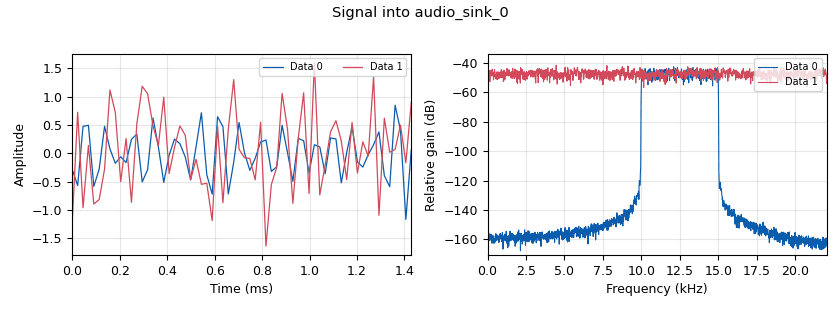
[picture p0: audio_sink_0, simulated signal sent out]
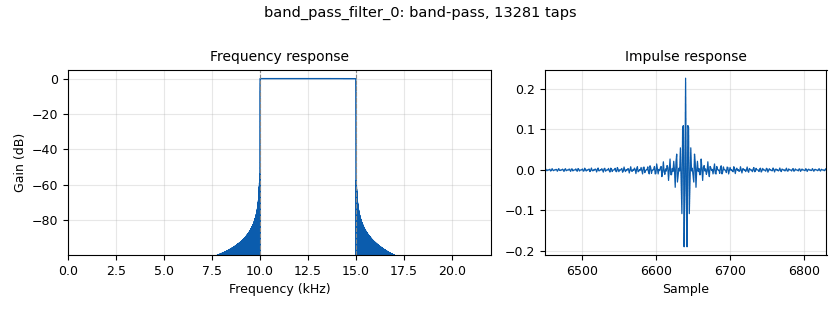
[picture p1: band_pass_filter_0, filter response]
<?xml version='1.0' encoding='utf-8'?>
<?grc format='1' created='3.7.12'?>
<flow_graph>
<block>
<key>options</key>
<param><key>id</key><value>top_block</value></param>
<param><key>generate_options</key><value>qt_gui</value></param>
</block>
<block>
<key>variable</key>
<param><key>id</key><value>samp_rate</value></param>
<param><key>value</key><value>44100</value></param>
</block>
<block>
<key>analog_noise_source_x</key>
<param><key>id</key><value>analog_noise_source_x_0</value></param>
<param><key>amp</key><value>1</value></param>
<param><key>noise_type</key><value>analog.GR_GAUSSIAN</value></param>
<param><key>type</key><value>complex</value></param>
<param><key>seed</key><value>0</value></param>
</block>
<block>
<key>audio_sink</key>
<param><key>id</key><value>audio_sink_0</value></param>
<param><key>num_inputs</key><value>2</value></param>
<param><key>samp_rate</key><value>samp_rate</value></param>
</block>
<block>
<key>audio_source</key>
<param><key>id</key><value>audio_source_0</value></param>
<param><key>num_outputs</key><value>2</value></param>
<param><key>samp_rate</key><value>samp_rate</value></param>
</block>
<block>
<key>band_pass_filter</key>
<param><key>id</key><value>band_pass_filter_0</value></param>
<param><key>decim</key><value>1</value></param>
<param><key>type</key><value>fir_filter_fff</value></param>
<param><key>gain</key><value>1</value></param>
<param><key>high_cutoff_freq</key><value>15e3</value></param>
<param><key>low_cutoff_freq</key><value>10e3</value></param>
<param><key>samp_rate</key><value>samp_rate</value></param>
<param><key>width</key><value>8</value></param>
<param><key>win</key><value>firdes.WIN_HAMMING</value></param>
</block>
<block>
<key>blocks_complex_to_float</key>
<param><key>id</key><value>blocks_complex_to_float_0</value></param>
</block>
<block>
<key>qtgui_freq_sink_x</key>
<param><key>id</key><value>qtgui_freq_sink_x_0</value></param>
<param><key>average</key><value>0.1</value></param>
<param><key>bw</key><value>samp_rate</value></param>
<param><key>fc</key><value>0</value></param>
<param><key>fftsize</key><value>4096</value></param>
<param><key>label2</key><value></value></param>
<param><key>nconnections</key><value>2</value></param>
<param><key>showports</key><value>True</value></param>
<param><key>type</key><value>float</value></param>
<param><key>wintype</key><value>firdes.WIN_BLACKMAN_hARRIS</value></param>
<param><key>ymax</key><value>0</value></param>
<param><key>ymin</key><value>-100</value></param>
</block>
<connection><source_block_id>analog_noise_source_x_0</source_block_id><sink_block_id>blocks_complex_to_float_0</sink_block_id><source_key>0</source_key><sink_key>0</sink_key></connection>
<connection><source_block_id>audio_source_0</source_block_id><sink_block_id>qtgui_freq_sink_x_0</sink_block_id><source_key>0</source_key><sink_key>0</sink_key></connection>
<connection><source_block_id>audio_source_0</source_block_id><sink_block_id>qtgui_freq_sink_x_0</sink_block_id><source_key>1</source_key><sink_key>1</sink_key></connection>
<connection><source_block_id>band_pass_filter_0</source_block_id><sink_block_id>audio_sink_0</sink_block_id><source_key>0</source_key><sink_key>0</sink_key></connection>
<connection><source_block_id>blocks_complex_to_float_0</source_block_id><sink_block_id>audio_sink_0</sink_block_id><source_key>1</source_key><sink_key>1</sink_key></connection>
<connection><source_block_id>blocks_complex_to_float_0</source_block_id><sink_block_id>band_pass_filter_0</sink_block_id><source_key>0</source_key><sink_key>0</sink_key></connection>
</flow_graph>
